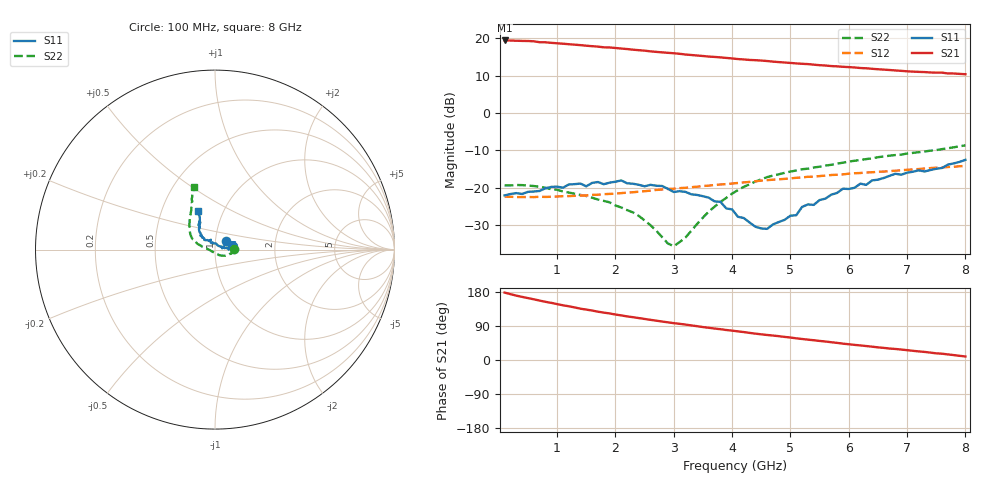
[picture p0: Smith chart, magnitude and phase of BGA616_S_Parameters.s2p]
!  INFINEON TECHNOLOGIES Silicon Discrete Components
!  BGA616
!  Vcc=6.0V, Rbias=33Ohm, I=60mA
!  Date:  27 Jun 2001
#  GHz  S  MA  R  50
! f  S11  S21  S12  S22
! GHz  Mag  Ang  Mag  Ang  Mag  Ang  Mag  Ang
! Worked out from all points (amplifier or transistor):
!   80 points, 100 MHz to 8 GHz, reference 50 ohm
!   highest |S21| = 19.4 dB at 100 MHz (marker M1)
!   |S21| within 3 dB of that: start of sweep to 2.662 GHz
!   unconditionally stable (mu >= 1): start of sweep to end of sweep
!   at 1.4 GHz: K = 1.10, MAG = 18.2 dB, |S12| = -22.1 dB
!   at 4.1 GHz: K = 1.12, MAG = 14.5 dB, |S12| = -18.7 dB
!   at 8 GHz: K = 1.03, MAG = 11.3 dB, |S12| = -14.2 dB
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0.1  0.0788 36.2  9.322 177.9  0.0758 -0.1  0.1072 1.0
0.3  0.0846 10.2  9.242 169.9  0.0749 0.8  0.1086 -1.0
0.5  0.0879 18.1  9.166 163.3  0.0751 3.9  0.1067 -4.4
0.6  0.0888 17.9  9.088 160.2  0.0748 4.4  0.1052 -7.0
0.7  0.0904 21.8  8.827 156.8  0.0756 5.7  0.1028 -7.7
0.8  0.0981 15.7  8.802 153.5  0.0752 6.1  0.0999 -10.4
1.1  0.0999 23.2  8.435 144.4  0.0769 8.7  0.0889 -14.6
1.4  0.1134 20.4  8.073 135.4  0.0782 10.6  0.08 -20.7
1.5  0.1043 21.7  7.931 133.0  0.0789 11.7  0.0774 -21.9
1.7  0.119 20.4  7.712 127.5  0.0805 12.4  0.0694 -27.1
2.2  0.1145 11.2  7.156 115.1  0.0857 15.1  0.0501 -41.2
2.8  0.1053 9.6  6.457 101.5  0.0945 17.3  0.0218 -75.3
3  0.0875 7.4  6.284 97.2  0.0969 18.2  0.0165 -116.2
3.5  0.0769 -0.2  5.776 86.9  0.1054 18.6  0.0398 176.6
3.8  0.0647 9.0  5.532 81.3  0.1104 18.6  0.0644 168.4
4.1  0.0408 10.0  5.254 75.5  0.1156 18.1  0.0929 162.8
4.6  0.0281 63.7  4.95 66.0  0.126 17.1  0.1385 154.7
5.4  0.0588 125.2  4.426 52.1  0.1405 14.2  0.1863 139.6
6.1  0.0998 135.2  4.057 39.9  0.156 10.0  0.2291 127.5
6.7  0.144 128.3  3.751 30.2  0.1665 6.7  0.2678 119.5
7.6  0.1835 117.4  3.459 16.6  0.1865 0.9  0.328 112.8
8  0.2356 113.5  3.295 9.3  0.195 -3.0  0.3679 108.2
